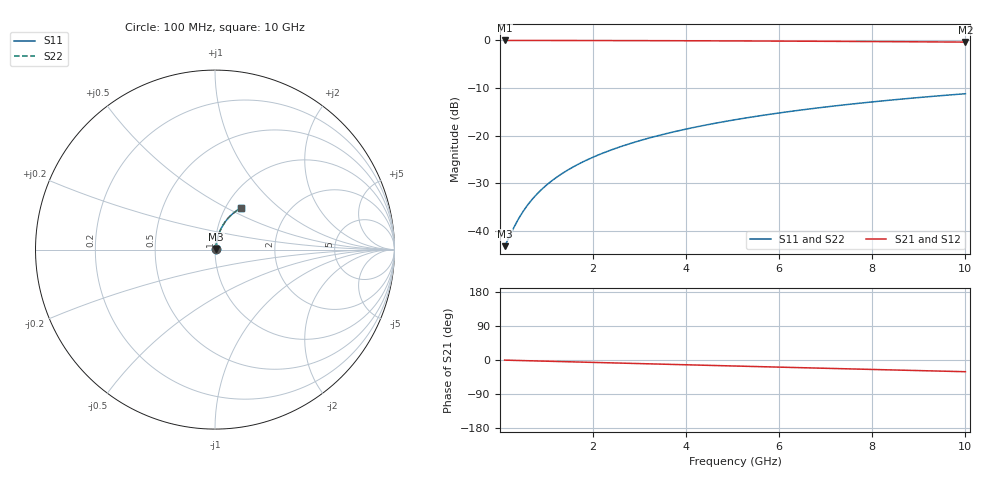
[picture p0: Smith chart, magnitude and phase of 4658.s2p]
# Hz S RI R 50.00
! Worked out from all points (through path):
!   100 points, 100 MHz to 10 GHz, reference 50 ohm
!   highest |S21| = -0.05 dB at 100 MHz (marker M1); lowest = -0.4 dB at 10 GHz (marker M2)
!   group delay of S21, straight-line fit = 8.6 ps
!   lowest |S11| = -43.2 dB at 100 MHz (marker M3), VSWR 1.01, Z = 50.6 + j0.296 ohm
!   |S11| at or under -10 dB: start of sweep to end of sweep
!   |S22| runs from -43.2 to -11.2 dB; largest |S21 - S12| = 0
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1e8  0.00626 0.00292  0.9937 -0.00549  0.9937 -0.00549  0.00626 0.00292
3e8  0.00646 0.00875  0.9935 -0.0165  0.9935 -0.0165  0.00646 0.00875
4e8  0.00659 0.0117  0.9933 -0.022  0.9933 -0.022  0.00659 0.0117
5e8  0.00676 0.0146  0.9931 -0.0274  0.9931 -0.0274  0.00676 0.0146
6e8  0.00695 0.0175  0.9929 -0.0329  0.9929 -0.0329  0.00695 0.0175
7e8  0.00718 0.0204  0.9926 -0.0384  0.9926 -0.0384  0.00718 0.0204
8e8  0.00744 0.0233  0.9923 -0.0439  0.9923 -0.0439  0.00744 0.0233
1e9  0.00804 0.0291  0.9916 -0.0548  0.9916 -0.0548  0.00804 0.0291
1.2e9  0.00877 0.0349  0.9907 -0.0657  0.9907 -0.0657  0.00877 0.0349
1.5e9  0.0101 0.0435  0.9891 -0.0821  0.9891 -0.0821  0.0101 0.0435
1.8e9  0.0117 0.0521  0.9872 -0.0984  0.9872 -0.0984  0.0117 0.0521
2.1e9  0.0136 0.0606  0.9849 -0.1146  0.9849 -0.1146  0.0136 0.0606
2.5e9  0.0166 0.0719  0.9813 -0.1362  0.9813 -0.1362  0.0166 0.0719
2.9e9  0.02 0.0829  0.9772 -0.1575  0.9772 -0.1575  0.02 0.0829
3.4e9  0.0249 0.0965  0.9711 -0.184  0.9711 -0.184  0.0249 0.0965
4.2e9  0.0344 0.1176  0.9596 -0.2257  0.9596 -0.2257  0.0344 0.1176
5.1e9  0.0471 0.1401  0.9441 -0.2714  0.9441 -0.2714  0.0471 0.1401
5.9e9  0.06 0.1588  0.9282 -0.3108  0.9282 -0.3108  0.06 0.1588
6.7e9  0.0745 0.1762  0.9103 -0.3489  0.9103 -0.3489  0.0745 0.1762
7.5e9  0.0903 0.1922  0.8906 -0.3857  0.8906 -0.3857  0.0903 0.1922
8.4e9  0.1094 0.2084  0.8666 -0.4252  0.8666 -0.4252  0.1094 0.2084
1e10  0.1463 0.2322  0.8194 -0.4906  0.8194 -0.4906  0.1463 0.2322
